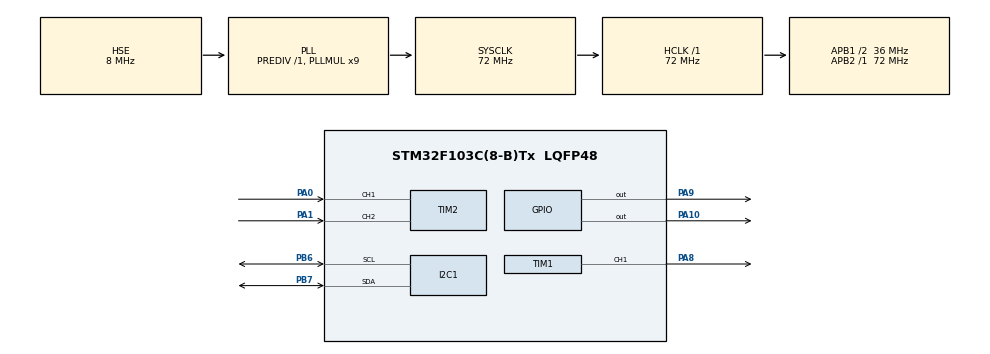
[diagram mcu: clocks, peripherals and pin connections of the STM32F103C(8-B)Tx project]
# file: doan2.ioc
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Mcu.Family=STM32F1
Mcu.Name=STM32F103C(8-B)Tx
Mcu.Package=LQFP48
NVIC.PriorityGroup=NVIC_PRIORITYGROUP_4
PA0-WKUP.GPIO_PuPd=GPIO_PULLUP
PA0-WKUP.Signal=S_TIM2_CH1_ETR
PA1.GPIO_PuPd=GPIO_PULLUP
PA1.Signal=S_TIM2_CH2
PA10.Signal=GPIO_Output
PA13.Mode=Serial_Wire
PA13.Signal=SYS_JTMS-SWDIO
PA14.Mode=Serial_Wire
PA14.Signal=SYS_JTCK-SWCLK
PA8.Signal=S_TIM1_CH1
PA9.Signal=GPIO_Output
PB6.Mode=I2C
PB6.Signal=I2C1_SCL
PB7.Mode=I2C
PB7.Signal=I2C1_SDA
PD0-OSC_IN.Mode=HSE-External-Oscillator
PD0-OSC_IN.Signal=RCC_OSC_IN
PD1-OSC_OUT.Mode=HSE-External-Oscillator
PD1-OSC_OUT.Signal=RCC_OSC_OUT
ProjectManager.HeapSize=0x200
ProjectManager.StackSize=0x400
ProjectManager.TargetToolchain=STM32CubeIDE
RCC.AHBFreq_Value=72000000
RCC.APB1CLKDivider=RCC_HCLK_DIV2
RCC.APB1Freq_Value=36000000
RCC.APB1TimFreq_Value=72000000
RCC.APB2Freq_Value=72000000
RCC.APB2TimFreq_Value=72000000
RCC.HCLKFreq_Value=72000000
RCC.PLLMUL=RCC_PLL_MUL9
RCC.PLLSourceVirtual=RCC_PLLSOURCE_HSE
RCC.SYSCLKFreq_VALUE=72000000
RCC.SYSCLKSource=RCC_SYSCLKSOURCE_PLLCLK
RCC.USBFreq_Value=72000000
SH.S_TIM1_CH1.0=TIM1_CH1,PWM Generation1 CH1
SH.S_TIM2_CH1_ETR.0=TIM2_CH1,Encoder_Interface
SH.S_TIM2_CH2.0=TIM2_CH2,Encoder_Interface
TIM1.Channel-PWM\ Generation1\ CH1=TIM_CHANNEL_1
TIM1.Period=999
TIM1.Prescaler=7
TIM2.EncoderMode=TIM_ENCODERMODE_TI12
VP_TIM1_VS_ClockSourceINT.Mode=Internal
board=custom

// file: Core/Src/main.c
/* USER CODE BEGIN Header */
/**
  ******************************************************************************
  * @file           : main.c
  * @brief          : Main program body
  ******************************************************************************
  * @attention
  *
  * Copyright (c) 2025 STMicroelectronics.
  * All rights reserved.
  *
  * This software is licensed under terms that can be found in the LICENSE file
  * in the root directory of this software component.
  * If no LICENSE file comes with this software, it is provided AS-IS.
  *
  ******************************************************************************
  */
/* USER CODE END Header */
#include "main.h"

/* USER CODE BEGIN Includes */
#include "i2c_lcd.h"
#include <stdio.h>
#include <string.h>
#include <stdio.h>
#include <math.h>
/* USER CODE END Includes */

/* USER CODE BEGIN PD */
#define MAX_DUTY_CYCLE 100
#define DUTY_CYCLE_INCREMENT 10
#define INITIAL_DUTY_CYCLE 20
#define DUTY_CYCLE_UPDATE_INTERVAL 5000 // 5 seconds
#define PULSES_PER_REV 20
#define WHEEL_DIAMETER 0.026f // mét
#define PI 3.14159f
/* USER CODE END PD */

I2C_HandleTypeDef hi2c1;

TIM_HandleTypeDef htim1;
TIM_HandleTypeDef htim2;

/* USER CODE BEGIN PV */
int16_t encoder = 0;
int16_t encoder_prev = 0;
uint32_t time_now = 0;
uint32_t time_prev = 0;
float velocity = 0.0f;

uint8_t current_duty_cycle = INITIAL_DUTY_CYCLE;
I2C_LCD_HandleTypeDef my_lcd;
char buffer[16];
/* USER CODE END PV */

void SystemClock_Config(void);
static void MX_GPIO_Init(void);
static void MX_TIM2_Init(void);
static void MX_I2C1_Init(void);
static void MX_TIM1_Init(void);

/* USER CODE BEGIN 0 */
void update_duty_cycle(void)
{
	  uint32_t pulse = (htim1.Init.Period + 1) * current_duty_cycle / 100;
	  __HAL_TIM_SET_COMPARE(&htim1, TIM_CHANNEL_1, pulse);
}
/* USER CODE END 0 */

int main(void)
{

  /* MCU Configuration--------------------------------------------------------*/

  /* Reset of all peripherals, Initializes the Flash interface and the Systick. */
  HAL_Init();

  /* Configure the system clock */
  SystemClock_Config();

  /* Initialize all configured peripherals */
  MX_GPIO_Init();
  MX_TIM2_Init();
  MX_I2C1_Init();
  MX_TIM1_Init();
  /* USER CODE BEGIN 2 */
  HAL_TIM_Encoder_Start(&htim2, TIM_CHANNEL_1);
  HAL_TIM_Encoder_Start(&htim2, TIM_CHANNEL_2);

  my_lcd.hi2c = &hi2c1;
  my_lcd.address = 0x27 << 1;  // địa chỉ LCD (nhân 2 vì HAL dùng 8-bit addr)
  lcd_init(&my_lcd);
  lcd_clear(&my_lcd);

  // Start PWM with initial duty cycle
   HAL_TIM_PWM_Start(&htim1, TIM_CHANNEL_1);
   update_duty_cycle();

   // Set motor direction
   HAL_GPIO_WritePin(GPIOA, GPIO_PIN_9, GPIO_PIN_SET);   // IN1 = 1
   HAL_GPIO_WritePin(GPIOA, GPIO_PIN_10, GPIO_PIN_RESET); // IN2 = 0
  /* USER CODE END 2 */

  /* Infinite loop */
  /* USER CODE BEGIN WHILE */
  while (1)
  {
	  	  encoder = __HAL_TIM_GET_COUNTER(&htim2);
	  	  time_now = HAL_GetTick();
	  	  int16_t delta_encoder = encoder - encoder_prev;
	  	  uint32_t delta_time = time_now - time_prev;
	  	  if (delta_time > 0)
	  	  {
	  	      // Vận tốc v = [(delta_encoder / PULSES_PER_REV) / (delta_time / 1000)] * (π * D)
	  	      velocity = ((float)delta_encoder / PULSES_PER_REV) / (delta_time / 1000.0f) * (PI * WHEEL_DIAMETER);
	  	  }

	  	  encoder_prev = encoder;
	  	  time_prev = time_now;

	  	  lcd_gotoxy(&my_lcd, 0, 0);
	  	  sprintf(buffer, "Enc: %5d   ", encoder);
	  	  lcd_puts(&my_lcd, buffer);

	  	  lcd_gotoxy(&my_lcd, 0, 1);
	  	  sprintf(buffer, "v=%.2f m/s ", velocity);
	  	  lcd_puts(&my_lcd, buffer);

	  	  HAL_Delay(500);

	  	// Update duty cycle every 5 seconds
	  	      HAL_Delay(DUTY_CYCLE_UPDATE_INTERVAL);

	  	      // Increase duty cycle by 10%
	  	      current_duty_cycle += DUTY_CYCLE_INCREMENT;
	  	      if(current_duty_cycle > MAX_DUTY_CYCLE) {
	  	        current_duty_cycle = INITIAL_DUTY_CYCLE; // Reset to 20% if exceeds 100%
	  	      }

	  	      // Update PWM duty cycle
	  	      update_duty_cycle();
    /* USER CODE END WHILE */

  }
}

void SystemClock_Config(void)
{
  RCC_OscInitTypeDef RCC_OscInitStruct = {0};
  RCC_ClkInitTypeDef RCC_ClkInitStruct = {0};

  /** Initializes the RCC Oscillators according to the specified parameters
  * in the RCC_OscInitTypeDef structure.
  */
  RCC_OscInitStruct.OscillatorType = RCC_OSCILLATORTYPE_HSE;
  RCC_OscInitStruct.HSEState = RCC_HSE_ON;
  RCC_OscInitStruct.HSEPredivValue = RCC_HSE_PREDIV_DIV1;
  RCC_OscInitStruct.HSIState = RCC_HSI_ON;
  RCC_OscInitStruct.PLL.PLLState = RCC_PLL_ON;
  RCC_OscInitStruct.PLL.PLLSource = RCC_PLLSOURCE_HSE;
  RCC_OscInitStruct.PLL.PLLMUL = RCC_PLL_MUL9;
  if (HAL_RCC_OscConfig(&RCC_OscInitStruct) != HAL_OK)
  {
    Error_Handler();
  }

  /** Initializes the CPU, AHB and APB buses clocks
  */
  RCC_ClkInitStruct.ClockType = RCC_CLOCKTYPE_HCLK|RCC_CLOCKTYPE_SYSCLK
                              |RCC_CLOCKTYPE_PCLK1|RCC_CLOCKTYPE_PCLK2;
  RCC_ClkInitStruct.SYSCLKSource = RCC_SYSCLKSOURCE_PLLCLK;
  RCC_ClkInitStruct.AHBCLKDivider = RCC_SYSCLK_DIV1;
  RCC_ClkInitStruct.APB1CLKDivider = RCC_HCLK_DIV2;
  RCC_ClkInitStruct.APB2CLKDivider = RCC_HCLK_DIV1;

  if (HAL_RCC_ClockConfig(&RCC_ClkInitStruct, FLASH_LATENCY_2) != HAL_OK)
  {
    Error_Handler();
  }
}

static void MX_I2C1_Init(void)
{

  hi2c1.Instance = I2C1;
  hi2c1.Init.ClockSpeed = 100000;
  hi2c1.Init.DutyCycle = I2C_DUTYCYCLE_2;
  hi2c1.Init.OwnAddress1 = 0;
  hi2c1.Init.AddressingMode = I2C_ADDRESSINGMODE_7BIT;
  hi2c1.Init.DualAddressMode = I2C_DUALADDRESS_DISABLE;
  hi2c1.Init.OwnAddress2 = 0;
  hi2c1.Init.GeneralCallMode = I2C_GENERALCALL_DISABLE;
  hi2c1.Init.NoStretchMode = I2C_NOSTRETCH_DISABLE;
  if (HAL_I2C_Init(&hi2c1) != HAL_OK)
  {
    Error_Handler();
  }

}

static void MX_TIM1_Init(void)
{

  TIM_ClockConfigTypeDef sClockSourceConfig = {0};
  TIM_MasterConfigTypeDef sMasterConfig = {0};
  TIM_OC_InitTypeDef sConfigOC = {0};
  TIM_BreakDeadTimeConfigTypeDef sBreakDeadTimeConfig = {0};

  htim1.Instance = TIM1;
  htim1.Init.Prescaler = 7;
  htim1.Init.CounterMode = TIM_COUNTERMODE_UP;
  htim1.Init.Period = 999;
  htim1.Init.ClockDivision = TIM_CLOCKDIVISION_DIV1;
  htim1.Init.RepetitionCounter = 0;
  htim1.Init.AutoReloadPreload = TIM_AUTORELOAD_PRELOAD_DISABLE;
  if (HAL_TIM_Base_Init(&htim1) != HAL_OK)
  {
    Error_Handler();
  }
  sClockSourceConfig.ClockSource = TIM_CLOCKSOURCE_INTERNAL;
  if (HAL_TIM_ConfigClockSource(&htim1, &sClockSourceConfig) != HAL_OK)
  {
    Error_Handler();
  }
  if (HAL_TIM_PWM_Init(&htim1) != HAL_OK)
  {
    Error_Handler();
  }
  sMasterConfig.MasterOutputTrigger = TIM_TRGO_RESET;
  sMasterConfig.MasterSlaveMode = TIM_MASTERSLAVEMODE_DISABLE;
  if (HAL_TIMEx_MasterConfigSynchronization(&htim1, &sMasterConfig) != HAL_OK)
  {
    Error_Handler();
  }
  sConfigOC.OCMode = TIM_OCMODE_PWM1;
  sConfigOC.Pulse = 0;
  sConfigOC.OCPolarity = TIM_OCPOLARITY_HIGH;
  sConfigOC.OCNPolarity = TIM_OCNPOLARITY_HIGH;
  sConfigOC.OCFastMode = TIM_OCFAST_DISABLE;
  sConfigOC.OCIdleState = TIM_OCIDLESTATE_RESET;
  sConfigOC.OCNIdleState = TIM_OCNIDLESTATE_RESET;
  if (HAL_TIM_PWM_ConfigChannel(&htim1, &sConfigOC, TIM_CHANNEL_1) != HAL_OK)
  {
    Error_Handler();
  }
  sBreakDeadTimeConfig.OffStateRunMode = TIM_OSSR_DISABLE;
  sBreakDeadTimeConfig.OffStateIDLEMode = TIM_OSSI_DISABLE;
  sBreakDeadTimeConfig.LockLevel = TIM_LOCKLEVEL_OFF;
  sBreakDeadTimeConfig.DeadTime = 0;
  sBreakDeadTimeConfig.BreakState = TIM_BREAK_DISABLE;
  sBreakDeadTimeConfig.BreakPolarity = TIM_BREAKPOLARITY_HIGH;
  sBreakDeadTimeConfig.AutomaticOutput = TIM_AUTOMATICOUTPUT_DISABLE;
  if (HAL_TIMEx_ConfigBreakDeadTime(&htim1, &sBreakDeadTimeConfig) != HAL_OK)
  {
    Error_Handler();
  }
  HAL_TIM_MspPostInit(&htim1);

}

static void MX_TIM2_Init(void)
{

  TIM_Encoder_InitTypeDef sConfig = {0};
  TIM_MasterConfigTypeDef sMasterConfig = {0};

  htim2.Instance = TIM2;
  htim2.Init.Prescaler = 0;
  htim2.Init.CounterMode = TIM_COUNTERMODE_UP;
  htim2.Init.Period = 65535;
  htim2.Init.ClockDivision = TIM_CLOCKDIVISION_DIV1;
  htim2.Init.AutoReloadPreload = TIM_AUTORELOAD_PRELOAD_DISABLE;
  sConfig.EncoderMode = TIM_ENCODERMODE_TI12;
  sConfig.IC1Polarity = TIM_ICPOLARITY_RISING;
  sConfig.IC1Selection = TIM_ICSELECTION_DIRECTTI;
  sConfig.IC1Prescaler = TIM_ICPSC_DIV1;
  sConfig.IC1Filter = 0;
  sConfig.IC2Polarity = TIM_ICPOLARITY_RISING;
  sConfig.IC2Selection = TIM_ICSELECTION_DIRECTTI;
  sConfig.IC2Prescaler = TIM_ICPSC_DIV1;
  sConfig.IC2Filter = 0;
  if (HAL_TIM_Encoder_Init(&htim2, &sConfig) != HAL_OK)
  {
    Error_Handler();
  }
  sMasterConfig.MasterOutputTrigger = TIM_TRGO_RESET;
  sMasterConfig.MasterSlaveMode = TIM_MASTERSLAVEMODE_DISABLE;
  if (HAL_TIMEx_MasterConfigSynchronization(&htim2, &sMasterConfig) != HAL_OK)
  {
    Error_Handler();
  }

}

static void MX_GPIO_Init(void)
{
  GPIO_InitTypeDef GPIO_InitStruct = {0};

  /* GPIO Ports Clock Enable */
  __HAL_RCC_GPIOD_CLK_ENABLE();
  __HAL_RCC_GPIOA_CLK_ENABLE();
  __HAL_RCC_GPIOB_CLK_ENABLE();

  /*Configure GPIO pin Output Level */
  HAL_GPIO_WritePin(GPIOA, GPIO_PIN_9|GPIO_PIN_10, GPIO_PIN_RESET);

  /*Configure GPIO pins : PA9 PA10 */
  GPIO_InitStruct.Pin = GPIO_PIN_9|GPIO_PIN_10;
  GPIO_InitStruct.Mode = GPIO_MODE_OUTPUT_PP;
  GPIO_InitStruct.Pull = GPIO_NOPULL;
  GPIO_InitStruct.Speed = GPIO_SPEED_FREQ_LOW;
  HAL_GPIO_Init(GPIOA, &GPIO_InitStruct);

}

void Error_Handler(void)
{
  __disable_irq();
  while (1)
  {
  }
}
